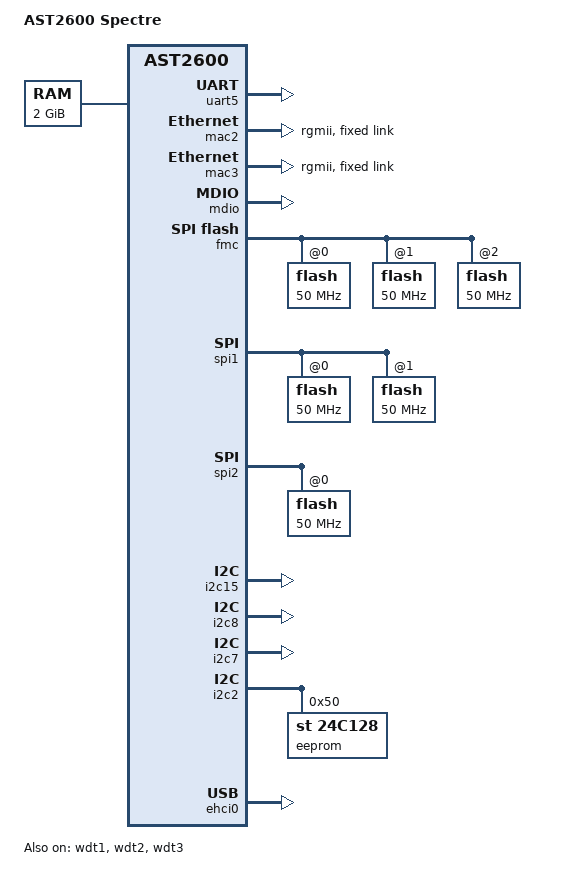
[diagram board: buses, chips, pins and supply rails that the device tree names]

// SPDX-License-Identifier: GPL-2.0
/*
 * Device Tree Source extras for U-Boot for the Moonraker
 * Copyright (C) Nvidia
 */
/dts-v1/;

#include "ast2600-u-boot.dtsi"

/ {
	model = "AST2600 Spectre";
	compatible = "aspeed,ast2600-evb", "aspeed,ast2600";
	config {
		bootdelay = <(-2)>;
		bootsecure = <1>;
		bootcmd = "boot";
	};
	memory {
		device_type = "memory";
		reg = <0x80000000 0x80000000>;
	};

	chosen {
		stdout-path = &uart5;
	};

	aliases {
		mmc0 = &emmc_slot0;
		mmc1 = &sdhci_slot0;
		mmc2 = &sdhci_slot1;
		spi0 = &fmc;
		spi1 = &spi1;
		spi2 = &spi2;
		ethernet0 = &mac0;
		ethernet1 = &mac1;
		ethernet2 = &mac2;
		ethernet3 = &mac3;
	};

	cpus {
		cpu@0 {
			clock-frequency = <800000000>;
		};
		cpu@1 {
			clock-frequency = <800000000>;
		};
	};
};

&uart5 {
	u-boot,dm-pre-reloc;
	status = "okay";
};

&sdrammc {
	clock-frequency = <400000000>;
};
&wdt1 {
	status = "okay";
};

&wdt2 {
	status = "okay";
};

&wdt3 {
	status = "okay";
};
&mac2 {
	status = "okay";
	phy-mode = "rgmii";
	pinctrl-names = "default";
	pinctrl-0 = <&pinctrl_rgmii3_default &pinctrl_mac3link_default>;
	fixed-link {
		speed = <1000>;
		full-duplex;
	};
};

&mac3 {
	status = "okay";
	phy-mode = "rgmii";
	pinctrl-names = "default";
	pinctrl-0 = <&pinctrl_rgmii4_default &pinctrl_mac4link_default>;
	fixed-link {
		speed = <1000>;
		full-duplex;
	};
};

&mdio {
        status = "okay";
        pinctrl-names = "default";
        pinctrl-0 = <&pinctrl_mdio3_default &pinctrl_mdio4_default>;
};


&fmc {
	status = "okay";

	pinctrl-names = "default";
	pinctrl-0 = <&pinctrl_fmcquad_default>;

	flash@0 {
		status = "okay";
		spi-max-frequency = <50000000>;
		spi-tx-bus-width = <4>;
		spi-rx-bus-width = <4>;
	};

	flash@1 {
		status = "okay";
		spi-max-frequency = <50000000>;
		spi-tx-bus-width = <4>;
		spi-rx-bus-width = <4>;
	};

	flash@2 {
		status = "okay";
		spi-max-frequency = <50000000>;
		spi-tx-bus-width = <4>;
		spi-rx-bus-width = <4>;
	};
};

/* CR question , why spi1 defined  */
&spi1 {
	status = "okay";

	pinctrl-names = "default";
	pinctrl-0 = <&pinctrl_spi1_default &pinctrl_spi1abr_default
			&pinctrl_spi1cs1_default &pinctrl_spi1wp_default
			&pinctrl_spi1wp_default &pinctrl_spi1quad_default>;

	flash@0 {
		status = "okay";
		spi-max-frequency = <50000000>;
		spi-tx-bus-width = <4>;
		spi-rx-bus-width = <4>;
	};

	flash@1 {
		status = "okay";
		spi-max-frequency = <50000000>;
		spi-tx-bus-width = <4>;
		spi-rx-bus-width = <4>;
	};
};

&spi2 {
	status = "okay";

	pinctrl-names = "default";
	pinctrl-0 = <&pinctrl_spi2_default &pinctrl_spi2cs1_default
			&pinctrl_spi2cs2_default &pinctrl_spi2quad_default>;
	num-cs = <1>;

	reg = <0x1e631000 0xc4
	       0x50000000 0x10000000>;

	flash@0 {
		status = "okay";
		spi-max-frequency = <50000000>;
		spi-tx-bus-width = <4>;
		spi-rx-bus-width = <4>;
	};

};

//Glacier i2c
&i2c15 {
	status = "okay";
	pinctrl-names = "default";
	pinctrl-0 = <&pinctrl_i2c16_default>;
};

//I2C between SMBUS and BMC
&i2c8 {
	status = "okay";

	pinctrl-names = "default";
	pinctrl-0 = <&pinctrl_i2c9_default>;
};

//I2C between BMC and RTC clock
&i2c7 {
	status = "okay";

	pinctrl-names = "default";
	pinctrl-0 = <&pinctrl_i2c8_default>;
};

//EPROM 2 BMC
&i2c2 {
	status = "okay";
	eeprom@50 {
		compatible = "st,24c128", "atmel,24c128";
		reg = <0x50>;
		pagesize = <64>;
		offset_len = <2>;
		eth2macoffset = <0xff 0xff 0x79 0xff 0xff 0xff>;
	};
};

// USB 1.0
&ehci0 {
	status = "okay";
};

&scu {
	mac0-clk-delay = <0x10 0x0a
			  0x10 0x10
			  0x10 0x10>;
	mac1-clk-delay = <0x10 0x0a
			  0x10 0x10
			  0x10 0x10>;
	mac2-clk-delay = <0x08 0x04
			  0x08 0x04
			  0x08 0x04>;
	mac3-clk-delay = <0x08 0x04
			  0x08 0x04
			  0x08 0x04>;
};

&scu {
	mac2-clk-delay = <0x08 0x00
			0x08 0x00
			0x08 0x00>;
	mac3-clk-delay = <0x08 0x00
			0x08 0x00
			0x08 0x00>;
};


